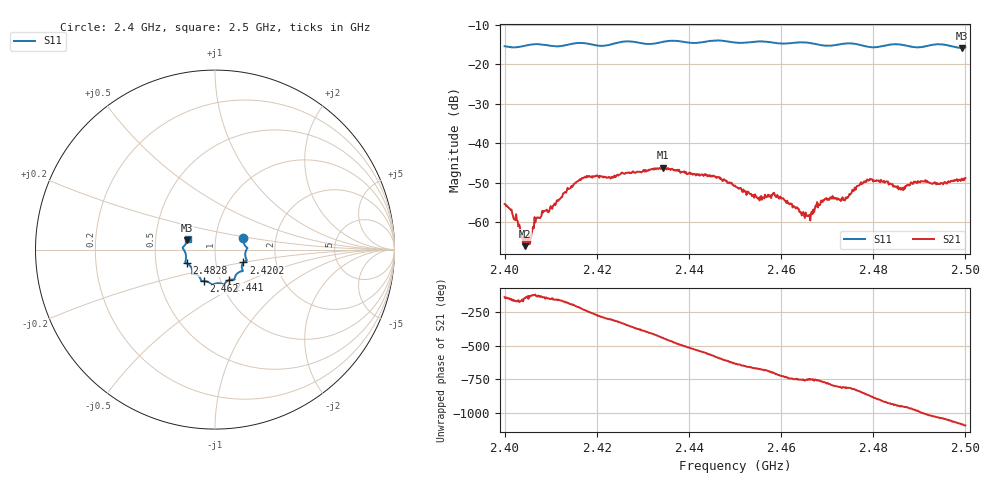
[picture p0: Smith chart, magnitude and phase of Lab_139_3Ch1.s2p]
# Hz S RI R 50
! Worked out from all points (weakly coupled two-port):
!   601 points, 2.4 GHz to 2.5 GHz, reference 50 ohm
!   highest |S21| = -46.15 dB at 2.4343 GHz (marker M1); lowest = -66.1 dB at 2.4045 GHz (marker M2)
!   lowest |S11| = -15.8 dB at 2.4993 GHz (marker M3), VSWR 1.39, Z = 36.5 + j3.87 ohm
!   |S11| at or under -10 dB: start of sweep to end of sweep
!   S12 and S22 are empty: the file has one direction only
!   S11 on the Smith chart (normalised r, x): 2.4 GHz: 1.36, +0.18; 2.4202 GHz: 1.36, -0.20; 2.441 GHz: 1.10, -0.39; 2.462 GHz: 0.83, -0.30; 2.4828 GHz: 0.72, -0.11; 2.5 GHz: 0.73, +0.09
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2.4e9  0.1583 0.0624  -0.00122 -0.00118  0 0  0 0
2.402833e9  0.163 0.0296  -0.000984 -0.000315  0 0  0 0
2.4045e9  0.1722 0.0164  -0.000389 -0.000307  0 0  0 0
2.4055e9  0.1774 0.0123  -0.000356 -0.000394  0 0  0 0
2.407e9  0.1807 0.00912  -0.000744 -0.000867  0 0  0 0
2.416667e9  0.1773 -0.0606  -0.00265 0.00235  0 0  0 0
2.420167e9  0.1582 -0.0715  0.000107 0.00388  0 0  0 0
2.433333e9  0.1116 -0.1509  0.00183 -0.00435  0 0  0 0
2.434333e9  0.1099 -0.159  0.000947 -0.00483  0 0  0 0
2.441e9  0.0783 -0.17  -0.00389 -0.00118  0 0  0 0
2.45e9  0.0282 -0.1877  0.000149 0.00291  0 0  0 0
2.462e9  -0.0609 -0.1757  0.00159 -0.000659  0 0  0 0
2.466667e9  -0.0788 -0.168  0.00119 -0.000659  0 0  0 0
2.469167e9  -0.0888 -0.1495  0.0012 -0.00149  0 0  0 0
2.474e9  -0.1254 -0.1351  5.51e-05 -0.00205  0 0  0 0
2.478333e9  -0.128 -0.1118  -0.00248 -0.00218  0 0  0 0
2.482833e9  -0.1575 -0.0766  -0.00306 0.00118  0 0  0 0
2.483333e9  -0.1605 -0.0753  -0.00265 0.00139  0 0  0 0
2.486e9  -0.1653 -0.067  -0.00166 0.00198  0 0  0 0
2.489333e9  -0.1617 -0.0323  -0.000497 0.00315  0 0  0 0
2.499333e9  -0.154 0.0517  0.0034 -0.000249  0 0  0 0
2.5e9  -0.1524 0.061  0.0035 -0.000861  0 0  0 0
